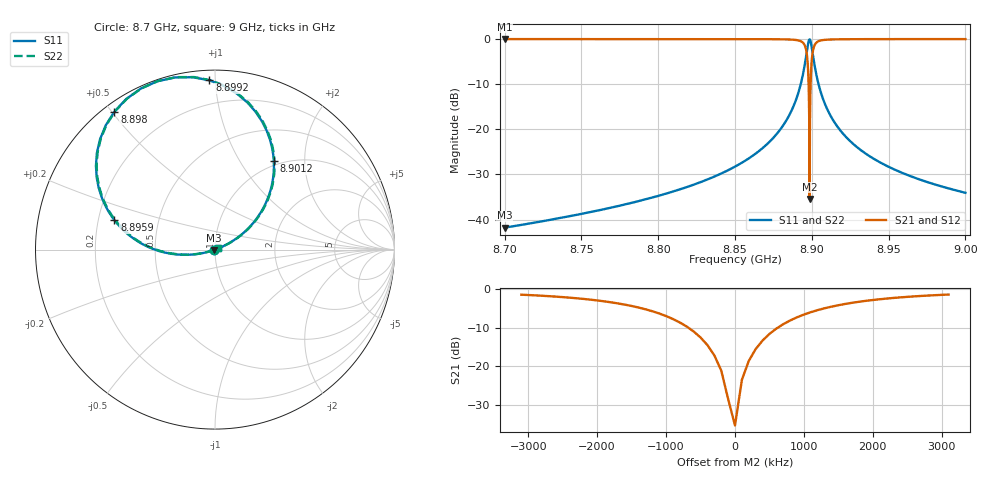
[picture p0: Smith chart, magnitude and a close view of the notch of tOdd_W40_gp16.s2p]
! Sonnet Data File
! From: emgraph Version : 16.52
! From Project: transmon_trial2
! Data is De-embedded
! Data File Written: 10/20/2017 11:33:10
!< HDATE 10/20/2017 10:41:42
!< MDATE 10/20/2017 10:41:42
!< PARAMS
!< Lj = 15.24
!< Gap = 16.0
!< Width = 40.0
!< Airgap = 24.0
!< Pwidth = 2000.0
!< END PARAMS
# GHZ S MA R 43.50000
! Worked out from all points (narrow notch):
!   3001 points, 8.7 GHz to 9 GHz, reference 43.5 ohm
!   highest |S21| = 0.00 dB at 8.7002 GHz (marker M1); lowest = -35.4 dB at 8.8986 GHz (marker M2)
!   notch at M2: 35.4 dB deep, 518 kHz wide at half that depth
!   lowest |S11| = -41.8 dB at 8.7 GHz (marker M3), VSWR 1.02, Z = 42.8 - j0.245 ohm
!   |S11| at or under -10 dB: start of sweep to 8.8928 GHz; 8.9044 GHz to end of sweep
!   |S22| runs from -41.8 to -0.1 dB; largest |S21 - S12| = 0
!   S11 on the Smith chart (normalised r, x): 8.7 GHz: 0.98, -0.01; 8.8959 GHz: 0.27, +0.13; 8.898 GHz: 0.03, +0.51; 8.8992 GHz: 0.06, +0.97; 8.9012 GHz: 0.94, +1.42; 9 GHz: 1.04, +0.01
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8.7  0.008137 -159.4  1 -69.4  1 -69.4  0.008137 -159.2
!< P1 F=8.7 Eeff=(4.81555861 -6.2189e-5) Z0=(43.3296017 -1.7655e-4) R=0.0 C=0.0
!< P2 F=8.7 Eeff=(4.81555861 -6.2189e-5) Z0=(43.3296017 -1.7655e-4) R=0.0 C=0.0
8.7002  0.008148 -159.4  1 -69.4  1 -69.4  0.008148 -159.2
8.75  0.01155 -160.0  0.9999 -70.0  0.9999 -70.0  0.01155 -159.9
8.8  0.01829 -160.7  0.9998 -70.7  0.9998 -70.7  0.01829 -160.8
8.85  0.0386 -162.2  0.9992 -72.3  0.9992 -72.3  0.0386 -162.5
8.8817  0.1128 -166.7  0.9935 -76.8  0.9935 -76.8  0.1128 -167.1
8.8926  0.3069 -178.2  0.9509 -88.3  0.9509 -88.3  0.3069 -178.7
8.8946  0.4363 173.7  0.898 -96.3  0.898 -96.3  0.4363 173.2
8.8959  0.5841 163.7  0.8081 -106.2  0.8081 -106.2  0.5841 163.2
8.897  0.7718 148.6  0.6277 -121.0  0.6277 -121.0  0.7718 148.2
8.898  0.9514 126.1  0.2813 -142.5  0.2813 -142.5  0.9514 125.7
8.8986  0.9914 108.9  0.01698 -11.5  0.01698 -11.5  0.9914 108.5
8.8992  0.9437 91.9  0.3068 0.1  0.3068 0.1  0.9437 91.4
8.9  0.8001 73.5  0.5907 -17.4  0.5907 -17.4  0.8001 73.1
8.9004  0.7236 66.6  0.6837 -24.1  0.6837 -24.1  0.7236 66.2
8.9012  0.5913 56.3  0.8027 -34.2  0.8027 -34.2  0.5913 55.9
8.903  0.4004 43.5  0.9148 -46.9  0.9148 -46.9  0.4004 43.1
8.9054  0.2732 35.7  0.9613 -54.7  0.9613 -54.7  0.2732 35.2
8.916  0.1112 26.1  0.9937 -64.2  0.9937 -64.2  0.1112 25.6
8.93  0.06235 23.1  0.998 -67.2  0.998 -67.2  0.06235 22.6
8.95  0.03846 21.6  0.9992 -68.7  0.9992 -68.7  0.03846 21.0
9  0.0198 20.2  0.9998 -70.1  0.9998 -70.1  0.0198 19.5
